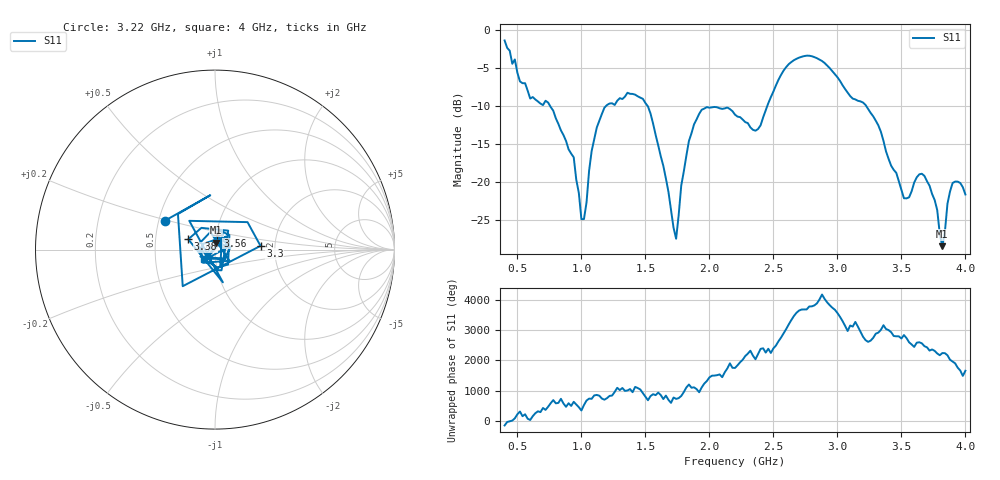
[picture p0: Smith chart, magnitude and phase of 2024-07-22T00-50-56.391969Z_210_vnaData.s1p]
!Created with skrf (http://scikit-rf.org).
# Hz S RI R 50.0
!freq ReS11 ImS11
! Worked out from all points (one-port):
!   181 points, 400 MHz to 4 GHz, reference 50 ohm
!   lowest |S11| = -28.4 dB at 3.82 GHz (marker M1), VSWR 1.08, Z = 50.2 + j3.82 ohm
!   |S11| at or under -10 dB: 757.2 MHz to 1.19 GHz (432.4 MHz wide, 44.4 % of centre); 1.52 GHz to 2.451 GHz (931.4 MHz wide, 46.9 % of centre); 3.227 GHz to end of sweep
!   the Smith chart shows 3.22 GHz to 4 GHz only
!   S11 on the Smith chart (normalised r, x): 3.22 GHz: 0.54, +0.19; 3.3 GHz: 1.68, +0.07; 3.38 GHz: 0.74, +0.09; 3.56 GHz: 1.01, +0.16; 4 GHz: 0.88, -0.10
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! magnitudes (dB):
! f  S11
! 400 MHz  -1.3
! 600 MHz  -9.0
! 740 MHz  -9.5
! 860 MHz  -13.8
! 940 MHz  -16.7
! 1 GHz  -24.8
! 1.02 GHz  -24.8
! 1.12 GHz  -12.8
! 1.3 GHz  -8.9
! 1.52 GHz  -10.0
! 1.74 GHz  -27.4
! 1.76 GHz  -24.3
! 1.84 GHz  -14.6
! 1.92 GHz  -11.0
! 2.2 GHz  -11.1
! 2.38 GHz  -13.0
! 2.66 GHz  -3.9
! 2.88 GHz  -4.0
! 3.1 GHz  -8.6
! 3.22 GHz  -9.8
! 3.3 GHz  -11.9
! 3.38 GHz  -15.9
! 3.56 GHz  -22.0
! 3.68 GHz  -19.1
! 3.76 GHz  -22.3
! 3.82 GHz  -28.4
! 3.9 GHz  -20.1
! 4 GHz  -21.6
